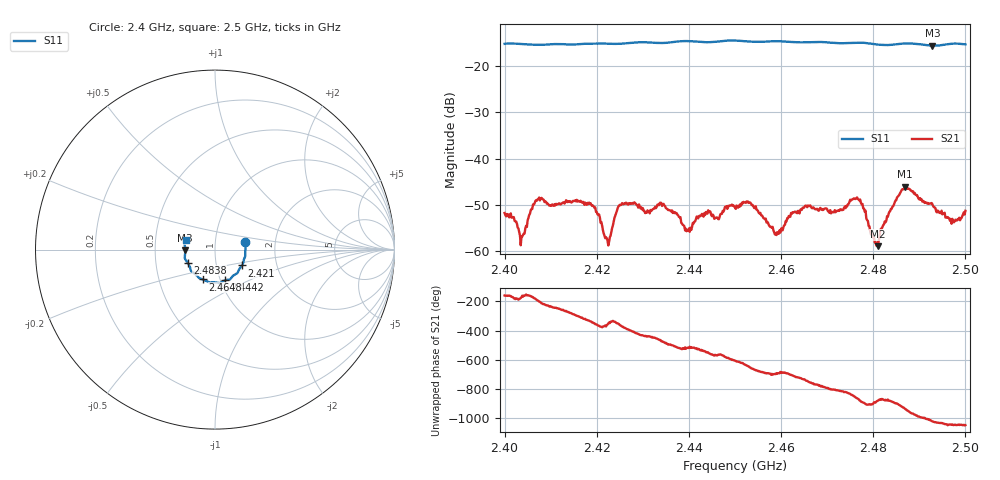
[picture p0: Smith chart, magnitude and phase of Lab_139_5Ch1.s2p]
# Hz S RI R 50
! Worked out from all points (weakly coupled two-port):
!   601 points, 2.4 GHz to 2.5 GHz, reference 50 ohm
!   highest |S21| = -46.06 dB at 2.4868 GHz (marker M1); lowest = -58.9 dB at 2.481 GHz (marker M2)
!   lowest |S11| = -15.6 dB at 2.4928 GHz (marker M3), VSWR 1.40, Z = 35.8 - j0.364 ohm
!   |S11| at or under -10 dB: start of sweep to end of sweep
!   S12 and S22 are empty: the file has one direction only
!   S11 on the Smith chart (normalised r, x): 2.4 GHz: 1.40, +0.12; 2.421 GHz: 1.33, -0.24; 2.4442 GHz: 1.05, -0.37; 2.4648 GHz: 0.83, -0.28; 2.4838 GHz: 0.73, -0.11; 2.5 GHz: 0.72, +0.08
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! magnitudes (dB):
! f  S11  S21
! 2.4 GHz  -15.2  -51.7
! 2.4038 GHz  -15.3  -56.8
! 2.407 GHz  -15.4  -49.1
! 2.4167 GHz  -15.3  -49.4
! 2.421 GHz  -15.2  -53.7
! 2.4223 GHz  -15.2  -57.7
! 2.4252 GHz  -15.2  -50.0
! 2.4333 GHz  -15.0  -49.9
! 2.4397 GHz  -14.6  -55.5
! 2.4442 GHz  -14.9  -51.2
! 2.45 GHz  -14.5  -50.6
! 2.4533 GHz  -14.7  -49.5
! 2.459 GHz  -14.7  -56.5
! 2.4648 GHz  -14.9  -50.7
! 2.4667 GHz  -14.8  -50.7
! 2.4767 GHz  -15.0  -48.7
! 2.481 GHz  -15.4  -58.9
! 2.4833 GHz  -15.5  -52.0
! 2.4838 GHz  -15.4  -50.9
! 2.4868 GHz  -15.2  -46.1
! 2.4928 GHz  -15.6  -49.8
! 2.5 GHz  -15.3  -51.3
